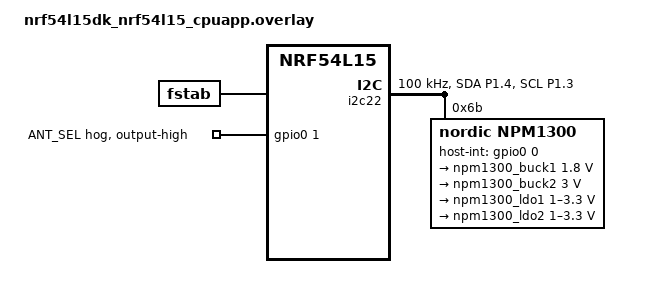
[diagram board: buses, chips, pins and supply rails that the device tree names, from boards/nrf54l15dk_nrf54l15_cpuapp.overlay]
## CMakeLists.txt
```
# Copyright (c) 2025 Golioth, Inc.
#
# SPDX-License-Identifier: Apache-2.0

cmake_minimum_required(VERSION 3.20.0)

find_package(Zephyr REQUIRED HINTS $ENV{ZEPHYR_BASE})
project(ble_gatt_example)

target_sources(app PRIVATE
  src/main.c
  src/credentials.c
  src/fatal_error.c
  src/fw_update.c
  src/ble_peripheral.c
  src/solar_status.c
)
```

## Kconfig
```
# Copyright (c) 2025 Golioth, Inc.
#
# SPDX-License-Identifier: Apache-2.0

config NCS_APPLICATION_BOOT_BANNER_STRING
    string
    default "Pouch BLE GATT Example"

source "$ZEPHYR_BASE/Kconfig"

config EXAMPLE_SYNC_PERIOD_S
    int "Sync period in seconds"
    default 600
    help
      Seconds to stay idle after an advertising window or a session before
      asking a gateway for another sync. The solar harvest is about 0.1 mA,
      so this stays long.

config EXAMPLE_ADV_WINDOW_S
    int "Advertising window in seconds"
    default 30
    help
      How long to advertise while requesting a gateway. Advertising stops
      after this until the next sync period, so the radio is not on all the time.

config EXAMPLE_CREDENTIALS_DIR
    string "Directory containing credentials"
    default "/lfs1/credentials"
    help
      Directory on mounted file system containing credentials.

config EXAMPLE_FW_UPDATE_COMPONENT
    string "OTA component to use for firmware update"
    default "ble_gatt_example"
    help
      Name of component in OTA manifest to use for firmware update.

# This option is used only for automated tests
config EXAMPLE_BT_AUTO_CONFIRM
	bool
	default y if BOARD_NRF52_BSIM_NATIVE
```

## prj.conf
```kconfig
# Copyright (c) 2025 Golioth, Inc.
#
# SPDX-License-Identifier: Apache-2.0

CONFIG_BT=y
CONFIG_BT_SMP=y
CONFIG_BT_PERIPHERAL=y
CONFIG_BT_DEVICE_NAME="Pouch_v3"
CONFIG_BT_DEVICE_APPEARANCE=768

CONFIG_BT_BUF_ACL_TX_SIZE=251
CONFIG_BT_BUF_ACL_RX_SIZE=251
CONFIG_BT_L2CAP_TX_MTU=247

# This allows centrals that connect using Just Works authentication
# to re-pair. This can allow attackers to force a device to forget
# a legitimate bond. In production applications, we recommend using
# authenticated pairing, or if that is not an option, to limit the
# times when pairing is possible (e.g. by requiring user interaction
# to forget bonds or to enter pairing mode).
# We enable this option in the example app because in the absence of
# authenticated connections or another method for forcing the deletion
# of bond data, Centrals that lose their bonding information will be
# unable to reconnect.
CONFIG_BT_SMP_ALLOW_UNAUTH_OVERWRITE=y

# This is needed due to an off-by-one error in Kconfig defaults
CONFIG_BT_CTLR_DATA_LENGTH_MAX=251

CONFIG_BT_RX_STACK_SIZE=4096

CONFIG_MAIN_STACK_SIZE=4096

CONFIG_MBEDTLS_HEAP_SIZE=9192

# This option is implied by BT_SMP and breaks secp384r1 support
CONFIG_MBEDTLS_PSA_P256M_DRIVER_ENABLED=n

# Turn off default options to reduce ROM usage
CONFIG_MBEDTLS_PKCS5_C=n

# RTT logs so a J-Link session can show what the firmware is doing.
# The up buffer is large enough to hold a gateway session while the
# viewer is attached. Drop mode does not spin when nothing is reading.
# The shell stays off because its 10 ms RTT poll holds the CPU out of idle.
CONFIG_LOG=y
CONFIG_LOG_MODE_DEFERRED=y
CONFIG_LOG_DEFAULT_LEVEL=3
CONFIG_LOG_BUFFER_SIZE=4096
CONFIG_USE_SEGGER_RTT=y
CONFIG_LOG_BACKEND_RTT=y
CONFIG_LOG_BACKEND_RTT_MODE_DROP=y
CONFIG_SEGGER_RTT_BUFFER_SIZE_UP=8192

# Gateway session detail while debugging. Bluetooth host stays at info.
CONFIG_POUCH_COMMON_LOG_LEVEL_DBG=y
CONFIG_POUCH_GATT_LOG_LEVEL_DBG=y
CONFIG_POUCH_TRANSPORT_LOG_LEVEL_DBG=y
CONFIG_ZCBOR=y
CONFIG_REBOOT=y
CONFIG_SHELL=n

# Keep the debug port open. A locked access port blocks J-Link.
CONFIG_NRF_APPROTECT_DISABLE=y
CONFIG_NRF_SECURE_APPROTECT_DISABLE=y

# Ask a gateway for one sync this often, then clear the request flag
# so other Pouch boards can be chosen. The window is how long the flag stays set.
CONFIG_EXAMPLE_SYNC_PERIOD_S=300
CONFIG_EXAMPLE_ADV_WINDOW_S=30

CONFIG_POUCH=y
CONFIG_POUCH_TRANSPORT_BLE_GATT=y

CONFIG_GOLIOTH=y
CONFIG_GOLIOTH_SETTINGS=y
CONFIG_GOLIOTH_OTA=y

# Enable flash operations
CONFIG_FLASH=y
CONFIG_FLASH_MAP=y

# Enable the LittleFS file system
CONFIG_FILE_SYSTEM=y
CONFIG_FILE_SYSTEM_LITTLEFS=y

# No UART on this board. RTT is the log channel only, not a console.
CONFIG_CONSOLE=n
CONFIG_UART_CONSOLE=n
CONFIG_SERIAL=n
CONFIG_RTT_CONSOLE=n
CONFIG_SHELL_BACKEND_RTT=n
CONFIG_SHELL_BACKEND_SERIAL=n

# MCUmgr over the shell was only for bench provisioning. Pouch OTA uses
# the image manager below, which does not need a shell transport.
CONFIG_MCUMGR=n

CONFIG_STREAM_FLASH=y
CONFIG_IMG_MANAGER=y
CONFIG_IMG_ERASE_PROGRESSIVELY=y
```

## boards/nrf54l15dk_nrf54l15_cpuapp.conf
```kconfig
# No 32.768 kHz crystal on this board. The DK default (LFXO) makes GRTC
# wait forever, so main() never runs.
CONFIG_CLOCK_CONTROL_NRF_K32SRC_RC=y
CONFIG_NRF_GRTC_TIMER_SOURCE_LFLPRC=y

# nPM1300 charger and status LED, same stack as the bring-up firmware.
CONFIG_I2C=y
CONFIG_GPIO=y
CONFIG_MFD=y
CONFIG_REGULATOR=y
CONFIG_SENSOR=y
CONFIG_NPM13XX_CHARGER=y
CONFIG_LED=y
CONFIG_LED_NPM13XX=y
```

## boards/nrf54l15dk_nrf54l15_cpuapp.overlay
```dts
/*
 * Nordic_Solar — shared devicetree overlay for the nRF54L15 + nPM1300 board (v2)
 * Target: nrf54l15dk/nrf54l15/cpuapp
 *
 * This describes the nPM1300 PMIC as it is wired on your v2 board:
 *   - I2C @ 0x6B, 3.0 V bus (VDDIO = BUCK2)
 *   - BUCK1 = 1.8 V (RF antenna switch only), BUCK2 = 3.0 V (SoC + logic)
 *   - Charger fed by USB-C + solar diode-OR'd into VBUS/CHG_IN
 *   - NTC pin faked with a fixed 10 kOhm resistor (~25 C), no real thermistor
 *   - Status LED on nPM1300 LED0 (host-controlled)
 *
 * The SAME overlay is used by all four bring-up apps. Copy it into each app's
 * boards/ directory (it is already placed there).
 *
 * I2C (nRF54L15 QFN): SCL = pin 4 / P1.03, SDA = pin 5 / P1.04.
 * P1.03 is NFC2 by default — UICR nfct-pins-as-gpios is required or SCL
 * never leaves the pad. uart20 is disabled (DK uses P1.04 as UART TX).
 */

&uicr {
	nfct-pins-as-gpios;
};

&nfct {
	status = "disabled";
};

&pinctrl {
	i2c_pmic_default: i2c_pmic_default {
		group1 {
			psels = <NRF_PSEL(TWIM_SDA, 1, 4)>,    /* P1.04, QFN pin 5 */
				<NRF_PSEL(TWIM_SCL, 1, 3)>;    /* P1.03, QFN pin 4 */
			bias-pull-up;
		};
	};

	i2c_pmic_sleep: i2c_pmic_sleep {
		group1 {
			psels = <NRF_PSEL(TWIM_SDA, 1, 4)>,
				<NRF_PSEL(TWIM_SCL, 1, 3)>;
			low-power-enable;
		};
	};
};

/* DK uart20 uses P1.04 (our SDA). uart30 uses P0.00 (our PMIC_INT). */
&uart20 {
	status = "disabled";
};

&uart30 {
	status = "disabled";
};

&spi22 {
	status = "disabled";
};

/*
 * FM8625H antenna switch (VDD = BUCK1 / VOUT1 = 1.8 V):
 *   VCTL low  -> ANT to RF1 -> chip antenna (2450AT18A100E)
 *   VCTL high -> ANT to RF2 -> ECT818000500 connector
 * ANT_SEL = P0.01 (QFN pin 24). Hold high for the ECT818000500 connector.
 */
&gpio0 {
	ant_sel_hog {
		gpio-hog;
		gpios = <1 GPIO_ACTIVE_HIGH>;
		output-high;
		line-name = "ANT_SEL";
	};
};

/*
 * nRF54L15 DK board files enable the 32.768 kHz LFXO. This custom board
 * does not have that crystal, so GRTC init waits forever and main() never
 * runs. Use the internal LF RC instead.
 */
&lfxo {
	status = "disabled";
};

&i2c22 {
	status = "okay";
	pinctrl-0 = <&i2c_pmic_default>;
	pinctrl-1 = <&i2c_pmic_sleep>;
	pinctrl-names = "default", "sleep";
	clock-frequency = <I2C_BITRATE_STANDARD>;   /* 100 kHz; PMIC also supports 400 kHz */

	npm1300: pmic@6b {
		compatible = "nordic,npm1300";
		reg = <0x6b>;

		/* nPM1300 GPIO0 (pin 7) -> PMIC_INT -> nRF54L15 P0.00 (QFN pin 23). */
		host-int-gpios = <&gpio0 0 0>;
		pmic-int-pin   = <0>;

		npm1300_gpio: gpio-controller {
			compatible = "nordic,npm1300-gpio";
			gpio-controller;
			#gpio-cells = <2>;
			ngpios = <5>;
		};

		npm1300_regulators: regulators {
			compatible = "nordic,npm1300-regulator";

			/* BUCK1 = 1.8 V (RF antenna switch rail) — Config 1 sets this
			 * from the VSET resistors; declared here so it can be read back.
			 */
			npm1300_buck1: BUCK1 {
				regulator-min-microvolt = <1800000>;
				regulator-max-microvolt = <1800000>;
				regulator-boot-on;
			};

			/* BUCK2 = 3.0 V (VDDIO — powers the SoC; do NOT turn this off) */
			npm1300_buck2: BUCK2 {
				regulator-min-microvolt = <3000000>;
				regulator-max-microvolt = <3000000>;
				regulator-boot-on;
				regulator-always-on;
			};

			/* LDO1/LDO2 unused on this board */
			npm1300_ldo1: LDO1 {
				regulator-min-microvolt = <1000000>;
				regulator-max-microvolt = <3300000>;
			};
			npm1300_ldo2: LDO2 {
				regulator-min-microvolt = <1000000>;
				regulator-max-microvolt = <3300000>;
			};
		};

		npm1300_charger: charger {
			compatible = "nordic,npm1300-charger";

			/* --- LiPo charge profile (400 mAh cell) --- */
			term-microvolt = <4200000>;     /* 4.2 V CV termination */
			term-warm-microvolt = <4100000>;/* lower target when warm */
			current-microamp = <200000>;    /* 200 mA (~0.5C for 400 mAh) */
			term-current-percent = <10>;    /* stop at 10% of ICHG */

			/* --- Input current limit ---
			 * Default hardware limit is ~100 mA. Raise it so USB/solar can
			 * actually deliver charge current. 500 mA is safe for USB-C;
			 * for solar-only the SPV1040T just supplies what it can.
			 */
			vbus-limit-microamp = <500000>;

			/* --- Battery discharge current limit --- */
			dischg-limit-microamp = <1000000>;

			/* --- NTC / thermistor ---
			 * Your board fakes the NTC with a fixed 10k to GND (no real
			 * thermistor). A 10k/3380 config reads a static ~25 C, so
			 * charging never NTC-faults. WARNING: there is NO real battery
			 * temperature protection — see README before outdoor deployment.
			 */
			thermistor-ohms = <10000>;
			thermistor-beta = <3380>;

			/* Enable charging at boot. Comment out to leave the charger off
			 * and enable/observe behaviour purely from firmware.
			 */
			charging-enable;
		};

		/*
		 * nPM1300 LED drivers sink about 5 mA while lit. Host mode
		 * stays off until software turns one on. Charging and error
		 * modes would light the LED for the whole time solar is present.
		 *
		 * LED0 = board status LED (VSYS -> R14 -> nPM1300 pin 25).
		 */
		npm1300_leds: leds {
			compatible = "nordic,npm1300-led";
			nordic,led0-mode = "host";
			nordic,led1-mode = "host";
			nordic,led2-mode = "host";
		};
	};
};

/*
 * DK board devices that are not on the solar board. Leaving them enabled
 * drives pins (LED GPIO high, button pull-ups, SPI to a missing flash).
 */
&led0 {
	status = "disabled";
};

&led1 {
	status = "disabled";
};

&led2 {
	status = "disabled";
};

&led3 {
	status = "disabled";
};

&button0 {
	status = "disabled";
};

&button1 {
	status = "disabled";
};

&button2 {
	status = "disabled";
};

&button3 {
	status = "disabled";
};

/* DK external flash and PWM LED are not on this board. Disable the
 * devices that would be probed, not the parent controllers they point at.
 */
&mx25r64 {
	status = "disabled";
};

&pwm_led1 {
	status = "disabled";
};

/* Pouch credentials live on LittleFS in the storage partition. */
/ {
	fstab {
		compatible = "zephyr,fstab";
		lfs1: lfs1 {
			compatible = "zephyr,fstab,littlefs";
			mount-point = "/lfs1";
			partition = <&storage_partition>;
			automount;
			read-size = <16>;
			prog-size = <16>;
			cache-size = <64>;
			lookahead-size = <32>;
			block-cycles = <512>;
		};
	};
};
```

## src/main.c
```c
/*
 * Copyright (c) 2025 Golioth
 *
 * SPDX-License-Identifier: Apache-2.0
 */

#include <zephyr/logging/log.h>
LOG_MODULE_REGISTER(main);

#include "credentials.h"
#include "ble_peripheral.h"
#include "solar_status.h"

#include <zephyr/kernel.h>
#include <zephyr/drivers/gpio.h>
#include <zephyr/drivers/mfd/npm13xx.h>

#include <pouch/pouch.h>
#include <pouch/events.h>
#include <pouch/uplink.h>
#include <pouch/downlink.h>
#include <pouch/transport/bluetooth/gatt.h>

#include <golioth/settings_callbacks.h>

#include <app_version.h>

static const struct device *pmic = DEVICE_DT_GET_OR_NULL(DT_NODELABEL(npm1300));
static const struct gpio_dt_spec button = GPIO_DT_SPEC_GET_OR(DT_ALIAS(sw0), gpios, {});

/* nPM1300 LEDDRV. CLR turns the pin off only while the mode is host. */
#define NPM_LED_BASE 0x0AU
#define NPM_LED_MODE_HOST 2U
#define NPM_LED_CLR 1U
static struct gpio_callback button_cb_data;

/**
 * Push timeseries application data to the cloud on every uplink
 */
static void do_uplink(void)
{
    char json[256];
    int len = solar_status_format(json, sizeof(json));

    if (len < 0)
    {
        LOG_ERR("Solar status format failed (%d)", len);
        return;
    }

    LOG_INF("Uplink %s", json);

    int err = pouch_uplink_entry_write(".s/sensor",
                                       POUCH_CONTENT_TYPE_JSON,
                                       json,
                                       (size_t)len,
                                       POUCH_FOREVER);
    if (err)
    {
        LOG_ERR("Uplink write failed (%d)", err);
    }
}

POUCH_UPLINK_HANDLER(do_uplink);

/**
 * Settings handler for the "LED" setting.
 *
 * The settings handler gets called when the Settings service
 * receives a new value for the registered setting.
 */
static int led_setting_cb(bool new_value)
{
    ARG_UNUSED(new_value);

    /* Keep the LED off. Lighting it costs more than the panel can harvest. */
    return 0;
}

GOLIOTH_SETTINGS_HANDLER(LED, led_setting_cb);

static void pouch_event(enum pouch_event event, void *ctx)
{
    ARG_UNUSED(ctx);

    if (event == POUCH_EVENT_SESSION_START)
    {
        LOG_INF("Pouch session started");
    }
    else if (event == POUCH_EVENT_SESSION_END)
    {
        LOG_INF("Pouch session ended");
    }
}

POUCH_EVENT_HANDLER(pouch_event, NULL);

/**
 * Setup pouch stack.
 *
 * Loads credentials and initializes pouch.
 */
static int setup_pouch(void)
{
    struct pouch_config config = {0};

    int err = load_certificate(&config.certificate);
    if (err)
    {
        LOG_ERR("Failed to load certificate (err %d)", err);
        return err;
    }

    config.private_key = load_private_key();
    if (config.private_key == PSA_KEY_ID_NULL)
    {
        LOG_ERR("Failed to load private key");
        return -ENOENT;
    }

    LOG_INF("Credentials loaded");

    err = pouch_init(&config);
    if (err)
    {
        LOG_ERR("Pouch init failed (err %d)", err);
        return err;
    }

    LOG_INF("Pouch initialized");
    return 0;
}

/**
 * Turn the nPM1300 LEDs off.
 *
 * The PMIC stays powered when the nRF resets, so a host "on" bit survives.
 * Charging mode lights a pin whenever solar is present. CLR is ignored
 * unless the mode is host, per the nPM1300 LEDDRV registers.
 */
static void setup_led(void)
{
    if (!device_is_ready(pmic))
    {
        LOG_WRN("nPM1300 is not ready");
        return;
    }

    for (uint8_t led = 0; led < 3; led++)
    {
        int err = mfd_npm13xx_reg_write(pmic, NPM_LED_BASE, led, NPM_LED_MODE_HOST);

        if (err == 0)
        {
            err = mfd_npm13xx_reg_write(pmic, NPM_LED_BASE, 0x04U + (led * 2U), NPM_LED_CLR);
        }

        if (err < 0)
        {
            LOG_WRN("Could not turn off nPM1300 LED %u (err %d)", led, err);
        }
    }
}

/**
 * Button handler for the Bluetooth OOB authentication mechanism.
 */
static void button_pressed(const struct device *dev, struct gpio_callback *cb, uint32_t pins)
{
    ble_peripheral_button_handler();
}

/**
 * Initialize button.
 *
 * If the button can't be initialized, we'll log it, but not crash out.
 * The example can still work without it.
 */
static void setup_button(void)
{
    if (!DT_HAS_ALIAS(sw0) || !DT_NODE_HAS_STATUS(DT_ALIAS(sw0), okay))
    {
        return;
    }

    LOG_INF("Set up button at %s pin %d", button.port->name, button.pin);

    int err = gpio_pin_configure_dt(&button, GPIO_INPUT);
    if (err < 0)
    {
        LOG_WRN("Could not initialize Button");
        return;
    }

    err = gpio_pin_interrupt_configure_dt(&button, GPIO_INT_EDGE_TO_ACTIVE);
    if (err)
    {
        LOG_WRN("Error %d: failed to configure interrupt on %s pin %d",
                err,
                button.port->name,
                button.pin);
        return;
    }

    gpio_init_callback(&button_cb_data, button_pressed, BIT(button.pin));
    gpio_add_callback(button.port, &button_cb_data);
}

int main(void)
{
    solar_status_start();
    setup_led();

    LOG_INF("Pouch SDK Version: " STRINGIFY(APP_BUILD_VERSION));
    LOG_INF("Pouch Protocol Version: %d", POUCH_VERSION);
    LOG_INF("Pouch BLE Transport Protocol Version: %d", POUCH_GATT_VERSION);

    int err = ble_peripheral_init();
    if (err)
    {
        return err;
    }

    err = setup_pouch();
    if (err)
    {
        LOG_ERR("Pouch is not running (err %d). Still advertising so the gateway attempt is visible.",
                err);
    }

    setup_led();
    setup_button();

    err = ble_peripheral_start();
    if (err)
    {
        LOG_ERR("Advertising failed (err %d)", err);
    }

    /* Stay awake and keep printing. Returning here would idle with no further logs. */
    while (1)
    {
        k_sleep(K_SECONDS(10));
        if (err)
        {
            LOG_ERR("Up, advertising is not running");
        }
        else if (ble_peripheral_sync_requested())
        {
            LOG_INF("Up, requesting a gateway");
        }
        else
        {
            LOG_INF("Up, gateway request is off");
        }
    }
}
```

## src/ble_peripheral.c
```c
/*
 * Copyright (c) 2026 Golioth
 *
 * SPDX-License-Identifier: Apache-2.0
 */

#include <zephyr/logging/log.h>
LOG_MODULE_REGISTER(example_ble_peripheral);

#include "ble_peripheral.h"

#include <stdio.h>
#include <zephyr/kernel.h>
#include <zephyr/bluetooth/bluetooth.h>
#include <zephyr/bluetooth/conn.h>
#include <zephyr/bluetooth/gap.h>

#include <pouch/transport/bluetooth/gatt.h>

static struct bt_conn *default_conn;

static struct pouch_gatt_adv service_data = POUCH_GATT_ADV_DATA_INIT;

static struct bt_data ad[] = {
    BT_DATA_BYTES(BT_DATA_FLAGS, (BT_LE_AD_GENERAL | BT_LE_AD_NO_BREDR)),
    BT_DATA(BT_DATA_SVC_DATA16, &service_data, sizeof(service_data)),
    BT_DATA(BT_DATA_NAME_COMPLETE, CONFIG_BT_DEVICE_NAME, sizeof(CONFIG_BT_DEVICE_NAME) - 1),
};

/* 100–150 ms so a gateway finds the board quickly during the request window. */
static const struct bt_le_adv_param adv_param = BT_LE_ADV_PARAM_INIT(BT_LE_ADV_OPT_CONN,
                                                                      BT_GAP_ADV_FAST_INT_MIN_2,
                                                                      BT_GAP_ADV_FAST_INT_MAX_2,
                                                                      NULL);

static bool sync_requested;

static void sync_window_stop(struct k_work *work);
static void sync_window_start(struct k_work *work);
static void resume_advertising(struct k_work *work);

K_WORK_DELAYABLE_DEFINE(sync_window_stop_work, sync_window_stop);
K_WORK_DELAYABLE_DEFINE(sync_request_work, sync_window_start);
K_WORK_DELAYABLE_DEFINE(resume_work, resume_advertising);

static void schedule_next_sync(void)
{
    (void) k_work_schedule(&sync_request_work, K_SECONDS(CONFIG_EXAMPLE_SYNC_PERIOD_S));
}

/* Advertise, with or without the flag the gateway uses to choose a device. */
static int advertise(bool request)
{
    int err;

    pouch_gatt_adv_req_sync(&service_data, request);

    err = bt_le_adv_start(&adv_param, ad, ARRAY_SIZE(ad), NULL, 0);
    if (err == -EALREADY)
    {
        err = bt_le_adv_update_data(ad, ARRAY_SIZE(ad), NULL, 0);
    }
    if (err == 0)
    {
        sync_requested = request;
    }

    return err;
}

static void sync_window_stop(struct k_work *work)
{
    ARG_UNUSED(work);

    if (default_conn)
    {
        return;
    }

    int err = advertise(false);

    if (err)
    {
        LOG_ERR("Failed to clear gateway request (err %d)", err);
    }
    else
    {
        LOG_INF("Gateway request off for %d s", CONFIG_EXAMPLE_SYNC_PERIOD_S);
    }

    schedule_next_sync();
}

static void sync_window_start(struct k_work *work)
{
    ARG_UNUSED(work);

    int err = advertise(true);

    if (err)
    {
        LOG_ERR("Failed to request a gateway (err %d)", err);
        schedule_next_sync();
        return;
    }

    LOG_INF("Requesting a gateway for %d s", CONFIG_EXAMPLE_ADV_WINDOW_S);
    (void) k_work_schedule(&sync_window_stop_work, K_SECONDS(CONFIG_EXAMPLE_ADV_WINDOW_S));
}

int ble_peripheral_start(void)
{
    sync_window_start(NULL);
    return sync_requested ? 0 : -EIO;
}

static void connected(struct bt_conn *conn, uint8_t err)
{
    if (err)
    {
        LOG_ERR("Connection failed (err 0x%02x)", err);
        return;
    }

    LOG_INF("Gateway connected");
    default_conn = conn;
    (void) k_work_cancel_delayable(&sync_window_stop_work);
}

/* The controller still owns the advertiser inside the disconnect callback.
 * Starting it there returns -ENOMEM. Do it from the work queue instead.
 */
static void resume_advertising(struct k_work *work)
{
    ARG_UNUSED(work);

    if (default_conn)
    {
        return;
    }

    int err = advertise(false);

    if (err)
    {
        LOG_ERR("Failed to resume advertising (err %d)", err);
        (void) k_work_schedule(&resume_work, K_MSEC(200));
        return;
    }

    LOG_INF("Advertising, next gateway request in %d s", CONFIG_EXAMPLE_SYNC_PERIOD_S);
    schedule_next_sync();
}

static void disconnected(struct bt_conn *conn, uint8_t reason)
{
    ARG_UNUSED(conn);

    default_conn = NULL;
    (void) k_work_cancel_delayable(&sync_window_stop_work);
    (void) k_work_cancel_delayable(&sync_request_work);

    LOG_INF("Disconnected (reason 0x%02x)", reason);
    (void) k_work_schedule(&resume_work, K_MSEC(100));
}

static void security_changed(struct bt_conn *conn, bt_security_t level, enum bt_security_err err)
{
    ARG_UNUSED(conn);

    if (err)
    {
        LOG_ERR("Security failed at level %u (err %d)", level, err);
    }
    else
    {
        LOG_INF("Security level %u", level);
    }
}

BT_CONN_CB_DEFINE(conn_callbacks) = {
    .connected = connected,
    .disconnected = disconnected,
    .security_changed = security_changed,
};

static void auth_passkey_display(struct bt_conn *conn, unsigned int passkey)
{
    char addr[BT_ADDR_LE_STR_LEN];
    char passkey_str[7];

    bt_addr_le_to_str(bt_conn_get_dst(conn), addr, sizeof(addr));

    (void) snprintf(passkey_str, sizeof(passkey_str), "%06u", passkey);

    LOG_INF("Passkey for %s: %s", addr, passkey_str);
}

static void auth_passkey_confirm(struct bt_conn *conn, unsigned int passkey)
{
    char addr[BT_ADDR_LE_STR_LEN];
    char passkey_str[7];

    bt_addr_le_to_str(bt_conn_get_dst(conn), addr, sizeof(addr));

    (void) snprintf(passkey_str, sizeof(passkey_str), "%06u", passkey);

    LOG_INF("Confirm passkey for %s: %s", addr, passkey_str);

    if (IS_ENABLED(CONFIG_EXAMPLE_BT_AUTO_CONFIRM))
    {
        LOG_INF("Confirming passkey");
        bt_conn_auth_passkey_confirm(conn);
    }
}

static void auth_cancel(struct bt_conn *conn)
{
    char addr[BT_ADDR_LE_STR_LEN];

    bt_addr_le_to_str(bt_conn_get_dst(conn), addr, sizeof(addr));

    LOG_INF("Pairing cancelled: %s", addr);
}

static struct bt_conn_auth_cb auth_cb_display = {
    .passkey_display = auth_passkey_display,
    .passkey_confirm = auth_passkey_confirm,
    .cancel = auth_cancel,
};

void ble_peripheral_request_gateway(bool request)
{
    pouch_gatt_adv_req_sync(&service_data, request);
    sync_requested = request;
    bt_le_adv_update_data(ad, ARRAY_SIZE(ad), NULL, 0);
}

bool ble_peripheral_sync_requested(void)
{
    return sync_requested;
}

void ble_peripheral_button_handler(void)
{
    if (default_conn)
    {
        LOG_INF("Confirming passkey");
        bt_conn_auth_passkey_confirm(default_conn);
    }
    else
    {
        LOG_WRN("No BT connection for passkey confirmation");
    }
}

int ble_peripheral_init(void)
{
    int err = bt_enable(NULL);
    if (err)
    {
        LOG_ERR("Bluetooth init failed (err %d)", err);
        return err;
    }

    err = bt_conn_auth_cb_register(&auth_cb_display);
    if (err)
    {
        LOG_ERR("Bluetooth auth cb register failed (err %d)", err);
        return err;
    }

    return 0;
}
```

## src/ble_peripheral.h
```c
/*
 * Copyright (c) 2026 Golioth, Inc.
 *
 * SPDX-License-Identifier: Apache-2.0
 */
#pragma once

#include <stdint.h>
#include <stddef.h>
#include <stdbool.h>

/**
 * Button handler for Bluetooth OOB authentication.
 */
void ble_peripheral_button_handler(void);

/**
 * Enable or disable the gateway request flag in the Bluetooth advertisements.
 */
void ble_peripheral_request_gateway(bool request);

/**
 * Initialize application Bluetooth module.
 */
int ble_peripheral_init(void);

/**
 * Start Bluetooth advertising and open one gateway-request window.
 */
int ble_peripheral_start(void);

/** True while this board is asking a gateway to connect. */
bool ble_peripheral_sync_requested(void);
```

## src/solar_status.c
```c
#include "solar_status.h"

#include <zephyr/kernel.h>
#include <zephyr/device.h>
#include <zephyr/drivers/sensor.h>
#include <zephyr/drivers/sensor/npm13xx_charger.h>
#include <zephyr/logging/log.h>
#include <zephyr/sys/printk.h>

LOG_MODULE_REGISTER(solar_status, LOG_LEVEL_INF);

#define CHARGER_NODE DT_NODELABEL(npm1300_charger)

#define CHG_STATUS_BATTERY_DETECTED BIT(0)
#define CHG_STATUS_COMPLETE         BIT(1)
#define CHG_STATUS_TRICKLE          BIT(2)
#define CHG_STATUS_CC               BIT(3)
#define CHG_STATUS_CV               BIT(4)
#define VBUS_PRESENT                BIT(0)

/* AEM10330 STO_CFG=LLLL (v3): charge to 4.05 V, ready 3.50 V, cut-off 3.00 V.
 * USB via nPM1300 still terminates at 4.20 V, so a USB-full cell is AEM-BLOCKED.
 */
#define AEM_VOVCH_MV        4050
#define AEM_VCHRDY_MV       3500
#define AEM_VOVDIS_MV       3000
#define AEM_IBAT_CHG_MA     3
#define VBAT_PRESENT_MIN_MV 2500
#define VBAT_PRESENT_MAX_MV 4500

/* AEM charge is detected by VBAT rising, not nPM1300 IBAT. ADC noise is
 * about 5-10 mV, so require a sustained climb over 30 s.
 */
#define STATUS_PERIOD_MS  2000
#define AEM_RISE_WINDOW_S 30
#define AEM_RISE_MV       15
#define AEM_RISE_HOLD_MV  8
#define AEM_RISE_SPIKE_MV 40
#define AEM_RISE_SAMPLES  ((AEM_RISE_WINDOW_S * 1000) / STATUS_PERIOD_MS)

#define VBAT_EMPTY_MV 3300
#define VBAT_FULL_MV  4200

#define SOLAR_STACK_SIZE 2048
#define SOLAR_PRIORITY   10

enum charge_state {
    CHG_NO_BATTERY = 0,
    CHG_IDLE,
    CHG_TRICKLE,
    CHG_CC,
    CHG_CV,
    CHG_COMPLETE,
};

struct solar_snapshot {
    uint16_t vbat_mv;
    uint8_t soc_pct;
    int16_t ibat_ma;
    const char *charge;
    bool vbus;
    bool usb_cc;
    const char *source;
    bool aem;
    const char *aem_window;
    int vbat_rise_mv;
};

static const struct device *charger = DEVICE_DT_GET(CHARGER_NODE);
static struct k_mutex snap_lock;
static struct solar_snapshot snap = {
    .charge = "NO-BATT",
    .source = "BATTERY",
    .aem_window = "AEM-CUTOFF",
};

static uint16_t vbat_hist[AEM_RISE_SAMPLES];
static uint8_t vbat_hist_count;
static uint8_t vbat_hist_head;
static uint16_t vbat_prev_mv;
static int vbat_rise_dv;
static bool aem_active;

K_KERNEL_STACK_DEFINE(solar_stack, SOLAR_STACK_SIZE);
static struct k_work_q solar_wq;
static struct k_work_delayable sample_work;

static int32_t sensor_to_milli(const struct sensor_value *v)
{
    int64_t micro = ((int64_t)v->val1 * 1000000LL) + (int64_t)v->val2;

    return (int32_t)(micro / 1000LL);
}

static uint8_t soc_from_mv(uint16_t mv)
{
    if (mv <= VBAT_EMPTY_MV)
    {
        return 0;
    }
    if (mv >= VBAT_FULL_MV)
    {
        return 100;
    }
    return (uint8_t)(((uint32_t)(mv - VBAT_EMPTY_MV) * 100U) / (VBAT_FULL_MV - VBAT_EMPTY_MV));
}

static enum charge_state decode_state(int status, uint16_t vbat_mv)
{
    if (status & CHG_STATUS_COMPLETE)
    {
        return CHG_COMPLETE;
    }
    if (status & CHG_STATUS_CV)
    {
        return CHG_CV;
    }
    if (status & CHG_STATUS_CC)
    {
        return CHG_CC;
    }
    if (status & CHG_STATUS_TRICKLE)
    {
        return CHG_TRICKLE;
    }
    /* BIT(0) BATTERYDETECTED is reserved/always 0 on this nPM1300 path.
     * A real LiPo voltage means the cell is present even when idle.
     */
    if ((status & CHG_STATUS_BATTERY_DETECTED) ||
        ((vbat_mv >= VBAT_PRESENT_MIN_MV) && (vbat_mv <= VBAT_PRESENT_MAX_MV)))
    {
        return CHG_IDLE;
    }
    return CHG_NO_BATTERY;
}

static const char *charge_str(enum charge_state state)
{
    switch (state)
    {
    case CHG_COMPLETE:
        return "COMPLETE";
    case CHG_CV:
        return "CV";
    case CHG_CC:
        return "CC";
    case CHG_TRICKLE:
        return "TRICKLE";
    case CHG_IDLE:
        return "IDLE";
    default:
        return "NO-BATT";
    }
}

static bool charge_active(enum charge_state state)
{
    return (state == CHG_TRICKLE) || (state == CHG_CC) || (state == CHG_CV);
}

static const char *aem_window_str(uint16_t mv)
{
    if (mv > AEM_VOVCH_MV)
    {
        return "AEM-BLOCKED";
    }
    if (mv >= AEM_VCHRDY_MV)
    {
        return "AEM-OK";
    }
    if (mv >= AEM_VOVDIS_MV)
    {
        return "AEM-LOW";
    }
    return "AEM-CUTOFF";
}

static const char *source_str(bool vbus, bool usb_cc, bool charging, bool aem)
{
    if (vbus)
    {
        if (usb_cc)
        {
            return charging ? "USB" : "USB-IDLE";
        }
        return charging ? "USB-NO-CC" : "USB-NO-CC-IDLE";
    }
    return aem ? "AEM" : "BATTERY";
}

static void vbat_hist_reset(void)
{
    vbat_hist_count = 0;
    vbat_hist_head = 0;
    vbat_prev_mv = 0;
    vbat_rise_dv = 0;
}

/* True when USB is out and VBAT climbed over the last 30 s. Large jumps
 * reset the window so a clip or unclip is not counted as harvest.
 */
static bool vbat_is_rising(uint16_t vbat_mv, bool vbus)
{
    uint16_t oldest;
    int threshold;
    int step;

    if (vbus)
    {
        vbat_hist_reset();
        return false;
    }

    if (vbat_prev_mv != 0)
    {
        step = (int)vbat_mv - (int)vbat_prev_mv;
        if ((step > AEM_RISE_SPIKE_MV) || (step < -AEM_RISE_SPIKE_MV))
        {
            vbat_hist_reset();
        }
    }
    vbat_prev_mv = vbat_mv;

    vbat_hist[vbat_hist_head] = vbat_mv;
    vbat_hist_head = (uint8_t)((vbat_hist_head + 1U) % AEM_RISE_SAMPLES);
    if (vbat_hist_count < AEM_RISE_SAMPLES)
    {
        vbat_hist_count++;
        vbat_rise_dv = 0;
        return false;
    }

    oldest = vbat_hist[vbat_hist_head];
    vbat_rise_dv = (int)vbat_mv - (int)oldest;
    threshold = aem_active ? AEM_RISE_HOLD_MV : AEM_RISE_MV;
    return vbat_rise_dv >= threshold;
}

static bool vbus_present(void)
{
    struct sensor_value val = {0};

    if (sensor_attr_get(charger,
                        (enum sensor_channel)SENSOR_CHAN_NPM13XX_CHARGER_VBUS_STATUS,
                        (enum sensor_attribute)SENSOR_ATTR_NPM13XX_CHARGER_VBUS_PRESENT,
                        &val) < 0)
    {
        return false;
    }
    return val.val1 != 0;
}

/* USB-C CC detect, not VBUS. The panel path has no CC pin. */
static bool usb_cc_present(void)
{
    struct sensor_value val = {0};

    if (sensor_attr_get(charger, SENSOR_CHAN_CURRENT, SENSOR_ATTR_UPPER_THRESH, &val) < 0)
    {
        return false;
    }
    return (val.val1 != 0) || (val.val2 != 0);
}

static void publish(const struct solar_snapshot *next)
{
    k_mutex_lock(&snap_lock, K_FOREVER);
    snap = *next;
    k_mutex_unlock(&snap_lock);
}

static void sample_handler(struct k_work *work)
{
    struct sensor_value v_bat = {0};
    struct sensor_value i_bat = {0};
    struct sensor_value chg = {0};
    struct sensor_value vbus = {0};
    struct solar_snapshot next = {0};
    enum charge_state state;
    int32_t mv;
    int32_t ma;
    bool rising;
    int ret;

    ARG_UNUSED(work);

    if (!device_is_ready(charger))
    {
        LOG_ERR("nPM1300 charger not ready");
        k_work_schedule_for_queue(&solar_wq, &sample_work, K_MSEC(STATUS_PERIOD_MS));
        return;
    }

    next.vbus = vbus_present();
    next.usb_cc = usb_cc_present();

    ret = sensor_sample_fetch(charger);
    if (ret < 0)
    {
        LOG_ERR("nPM1300 sample fetch failed (%d)", ret);
        k_work_schedule_for_queue(&solar_wq, &sample_work, K_MSEC(STATUS_PERIOD_MS));
        return;
    }

    sensor_channel_get(charger, SENSOR_CHAN_GAUGE_VOLTAGE, &v_bat);
    sensor_channel_get(charger, SENSOR_CHAN_GAUGE_AVG_CURRENT, &i_bat);
    sensor_channel_get(charger, SENSOR_CHAN_NPM13XX_CHARGER_STATUS, &chg);
    sensor_channel_get(charger, SENSOR_CHAN_NPM13XX_CHARGER_VBUS_STATUS, &vbus);

    mv = sensor_to_milli(&v_bat);
    ma = sensor_to_milli(&i_bat);
    if (mv < 0)
    {
        mv = 0;
    }
    else if (mv > UINT16_MAX)
    {
        mv = UINT16_MAX;
    }
    if (ma > INT16_MAX)
    {
        ma = INT16_MAX;
    }
    else if (ma < INT16_MIN)
    {
        ma = INT16_MIN;
    }

    next.vbat_mv = (uint16_t)mv;
    next.ibat_ma = (int16_t)ma;
    next.vbus = (vbus.val1 & VBUS_PRESENT) ? true : next.vbus;
    state = decode_state(chg.val1, next.vbat_mv);
    next.soc_pct = soc_from_mv(next.vbat_mv);
    next.charge = charge_str(state);
    rising = vbat_is_rising(next.vbat_mv, next.vbus);
    next.aem = !next.vbus && (rising || (next.ibat_ma >= AEM_IBAT_CHG_MA));
    aem_active = next.aem;
    next.aem_window = aem_window_str(next.vbat_mv);
    next.vbat_rise_mv = vbat_rise_dv;
    next.source = source_str(next.vbus, next.usb_cc, charge_active(state), next.aem);

    publish(&next);

    LOG_INF("SRC:%s VBAT %u mV (%u%%) I %+d mA %s rise %+d/30s %s VBUS %s USB-CC %s",
            next.source,
            next.vbat_mv,
            next.soc_pct,
            next.ibat_ma,
            next.charge,
            next.vbat_rise_mv,
            next.aem_window,
            next.vbus ? "yes" : "no",
            next.usb_cc ? "yes" : "no");

    k_work_schedule_for_queue(&solar_wq, &sample_work, K_MSEC(STATUS_PERIOD_MS));
}

void solar_status_start(void)
{
    k_mutex_init(&snap_lock);
    k_work_queue_start(&solar_wq,
                       solar_stack,
                       K_KERNEL_STACK_SIZEOF(solar_stack),
                       SOLAR_PRIORITY,
                       NULL);
    k_work_init_delayable(&sample_work, sample_handler);
    k_work_schedule_for_queue(&solar_wq, &sample_work, K_NO_WAIT);
}

int solar_status_format(char *buf, size_t len)
{
    struct solar_snapshot copy;
    int wrote;

    if ((buf == NULL) || (len == 0U))
    {
        return -EINVAL;
    }

    k_mutex_lock(&snap_lock, K_FOREVER);
    copy = snap;
    k_mutex_unlock(&snap_lock);

    wrote = snprintk(buf,
                     len,
                     "{\"vbat_mv\":%u,\"soc_pct\":%u,\"ibat_ma\":%d,"
                     "\"charge\":\"%s\",\"vbus\":%s,\"usb_cc\":%s,"
                     "\"source\":\"%s\",\"aem\":%s,\"aem_window\":\"%s\","
                     "\"vbat_rise_mv\":%d}",
                     copy.vbat_mv,
                     copy.soc_pct,
                     copy.ibat_ma,
                     copy.charge,
                     copy.vbus ? "true" : "false",
                     copy.usb_cc ? "true" : "false",
                     copy.source,
                     copy.aem ? "true" : "false",
                     copy.aem_window,
                     copy.vbat_rise_mv);
    if ((wrote < 0) || ((size_t)wrote >= len))
    {
        return -ENOMEM;
    }
    return wrote;
}
```

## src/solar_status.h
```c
#ifndef SOLAR_STATUS_H_
#define SOLAR_STATUS_H_

#include <stddef.h>

/* Sample the nPM1300 on a dedicated thread so the 30 s harvest window
 * keeps running between gateway syncs.
 */
void solar_status_start(void);

/* Write the latest snapshot as one JSON object. Returns the length
 * written, excluding the terminating NUL, or a negative errno.
 */
int solar_status_format(char *buf, size_t len);

#endif /* SOLAR_STATUS_H_ */
```
